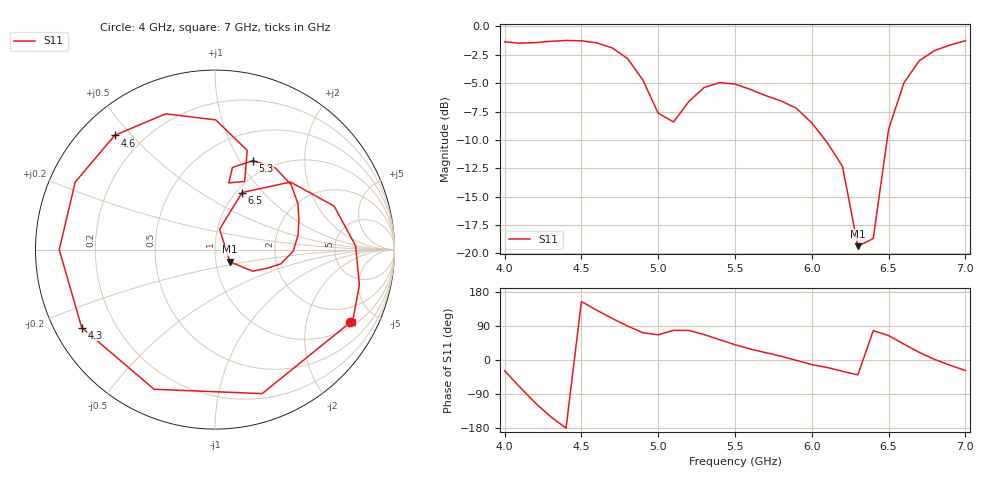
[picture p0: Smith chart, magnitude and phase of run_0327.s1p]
! Touchstone file exported from HFSS 2024.2.0
!  File:  C:/Users/wsak9/Desktop/Sim Fast/Widenad Patch/WP_AI_V1_sweep.aedt
!  Generated:  04:51:29 AM Oct 14, 2026
!  Design:  A1_model
!  Project:  WP_AI_V1_sweep
!  Setup:  Setup1
!  Solution:  Sweep
! Variables:
!  Air_gap = 2.12mm
!  Curve_Amp1 = 3.34
!  Curve_len1 = 1
!  Curve_pos = 11.05mm
!  Extra = 1.81mm
!  H_sub = 0.79mm
!  L_Patch = 18.1mm
!  L_Patch1 = 16.56mm
!  Sx = 2.41mm
!  Sy = 2.41mm
!  WS = 0.9mm
!  W_Patch = 10.82mm
!  W_Patch1 = 14.75mm
!Data is not renormalized
# GHz S MA
! Terminal data exported
! Port[1] = 1
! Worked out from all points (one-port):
!   31 points, 4 GHz to 7 GHz, reference per port
!   lowest |S11| = -19.4 dB at 6.3 GHz (marker M1), VSWR 1.24
!   |S11| at or under -10 dB: 6.087 GHz to 6.49 GHz (403.3 MHz wide, 6.41 % of centre)
!   S11 on the Smith chart (normalised r, x): 4 GHz: 1.19, -3.60; 4.3 GHz: 0.08, -0.27; 4.6 GHz: 0.10, +0.45; 5.3 GHz: 0.82, +1.14; 6.5 GHz: 1.07, +0.77; 7 GHz: 1.16, -3.71
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4  0.8559 -28.3
4.1  0.8442 -71.9
4.2  0.8489 -113.5
4.3  0.8604 -149.7
4.4  0.8678 -180.0
4.5  0.865 154.2
4.6  0.8469 131.3
4.7  0.8049 110.0
4.8  0.7226 89.6
4.9  0.5811 72.0
5  0.4144 66.5
5.1  0.3794 78.3
5.2  0.4675 78.1
5.3  0.5388 66.9
5.4  0.5656 53.5
5.5  0.5573 40.4
5.7  0.4956 19.4
5.9  0.4358 -1.1
6  0.3755 -12.2
6.2  0.2414 -29.9
6.3  0.1075 -39.2
6.4  0.1161 77.3
6.5  0.3522 64.6
6.6  0.5645 41.8
6.7  0.7069 20.0
6.8  0.7837 1.5
6.9  0.8284 -13.9
7  0.8653 -27.7
